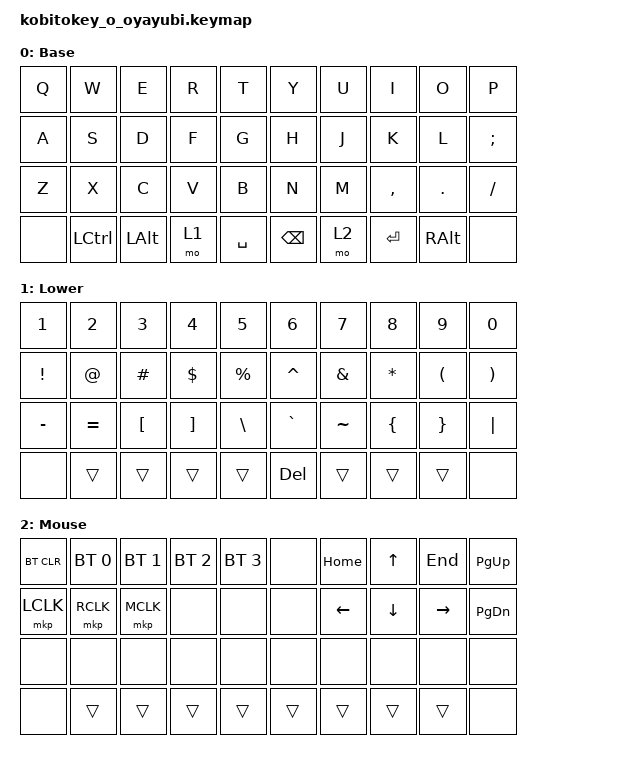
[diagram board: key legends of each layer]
#include <behaviors.dtsi>
#include <dt-bindings/zmk/keys.h>
#include <dt-bindings/zmk/bt.h>
#include <dt-bindings/zmk/pointing.h>

/ {
    keymap {
        compatible = "zmk,keymap";

        /* Combined matrix layout (4x10):
         *   cols 0..4 = LEFT half  (pinky -> index, outer to inner)
         *   cols 5..9 = RIGHT half (index -> pinky, inner to outer)
         *   row 3 cols 0 and 9 are phantom (no thumb key in pinky column).
         *
         *   col:       0    1    2    3    4    | 5    6    7    8    9
         *   left side: pky  ring mid  idx  in   | in   idx  mid  ring pky
         */

        default_layer {
            display-name = "Base";
            bindings = <
&kp Q      &kp W      &kp E       &kp R      &kp T           &kp Y      &kp U      &kp I       &kp O      &kp P
&kp A      &kp S      &kp D       &kp F      &kp G           &kp H      &kp J      &kp K       &kp L      &kp SEMI
&kp Z      &kp X      &kp C       &kp V      &kp B           &kp N      &kp M      &kp COMMA   &kp DOT    &kp FSLH
&none      &kp LCTRL  &kp LALT    &mo 1      &kp SPACE       &kp BSPC   &mo 2      &kp ENTER   &kp RALT   &none
            >;
        };

        lower_layer {
            display-name = "Lower";
            bindings = <
&kp N1     &kp N2     &kp N3      &kp N4     &kp N5          &kp N6     &kp N7     &kp N8      &kp N9     &kp N0
&kp EXCL   &kp AT     &kp HASH    &kp DLLR   &kp PRCNT       &kp CARET  &kp AMPS   &kp ASTRK   &kp LPAR   &kp RPAR
&kp MINUS  &kp EQUAL  &kp LBKT    &kp RBKT   &kp BSLH        &kp GRAVE  &kp TILDE  &kp LBRC    &kp RBRC   &kp PIPE
&none      &trans     &trans      &trans     &trans          &kp DEL    &trans     &trans      &trans     &none
            >;
        };

        mouse_layer {
            display-name = "Mouse";
            bindings = <
&bt BT_CLR &bt BT_SEL 0 &bt BT_SEL 1 &bt BT_SEL 2 &bt BT_SEL 3   &none      &kp HOME   &kp UP      &kp END    &kp PG_UP
&mkp LCLK  &mkp RCLK    &mkp MCLK    &none        &none          &none      &kp LEFT   &kp DOWN    &kp RIGHT  &kp PG_DN
&none      &none        &none        &none        &none          &none      &none      &none       &none      &none
&none      &trans       &trans       &trans       &trans         &trans     &trans     &trans      &trans     &none
            >;
        };
    };
};
